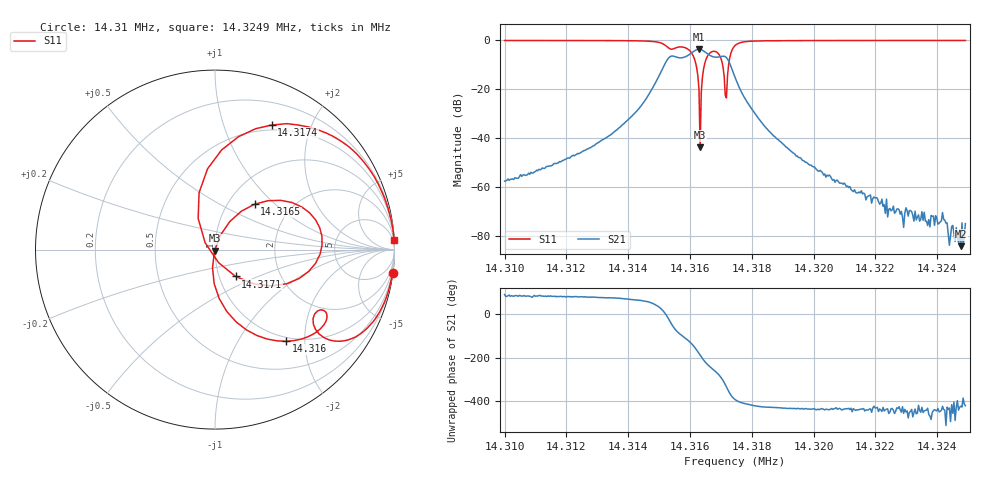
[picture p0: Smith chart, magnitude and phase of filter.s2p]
# HZ S RI R 50
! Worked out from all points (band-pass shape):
!   404 points, 14.31 MHz to 14.3249 MHz, reference 50 ohm
!   highest |S21| = -3.61 dB at 14.3163 MHz (marker M1); lowest = -84.0 dB at 14.3248 MHz (marker M2)
!   |S21| within 3 dB of the highest: 14.31536 MHz to 14.31551 MHz (154.7 Hz wide, 0.00108 % of centre); 14.31586 MHz to 14.31673 MHz (872.4 Hz wide, 0.00609 % of centre)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
!   lowest |S11| = -43.7 dB at 14.3163 MHz (marker M3), VSWR 1.01, Z = 49.8 - j0.618 ohm
!   |S11| at or under -10 dB: 14.31619 MHz to 14.31647 MHz (271.5 Hz wide, 0.0019 % of centre); 14.31705 MHz to 14.31725 MHz (195.1 Hz wide, 0.00136 % of centre)
!   S12 and S22 are empty: the file has one direction only
!   S11 on the Smith chart (normalised r, x): 14.31 MHz: 0, -15; 14.316 MHz: 0.93, -1.63; 14.3165 MHz: 1.32, +0.75; 14.3171 MHz: 1.20, -0.37; 14.3174 MHz: 0.44, +1.46; 14.3249 MHz: 1, +37
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1.431e7  0.9893 -0.1298  1.83e-05 0.00134  0 0  0 0
1.431252e7  0.9759 -0.1955  0.00103 0.0053  0 0  0 0
1.431411e7  0.9341 -0.3155  0.0112 0.0257  0 0  0 0
1.4315e7  0.7666 -0.494  0.1593 0.0997  0 0  0 0
1.431533e7  0.5477 -0.4145  0.4006 -0.2102  0 0  0 0
1.431551e7  0.6067 -0.3392  0.1643 -0.4371  0 0  0 0
1.431596e7  0.3955 -0.511  -0.2783 -0.4211  0 0  0 0
1.431618e7  0.0661 -0.3453  -0.5847 -0.2338  0 0  0 0
1.431629e7  -0.0139 -0.0997  -0.6596 0.0101  0 0  0 0
1.431633e7  -0.0021 -0.00621  -0.6488 0.0994  0 0  0 0
1.43164e7  0.0823 0.1561  -0.5766 0.2541  0 0  0 0
1.431648e7  0.2207 0.2531  -0.4669 0.3561  0 0  0 0
1.431688e7  0.5608 -0.0757  0.0101 0.4545  0 0  0 0
1.43171e7  0.1146 -0.1497  0.3271 0.3435  0 0  0 0
1.431725e7  -0.0887 0.3173  0.3757 0.0337  0 0  0 0
1.431744e7  0.3158 0.694  0.1648 -0.0945  0 0  0 0
1.431747e7  0.3998 0.7017  0.1372 -0.0914  0 0  0 0
1.431807e7  0.8622 0.4444  0.0172 -0.0298  0 0  0 0
1.431995e7  0.979 0.1744  0.000675 -0.00261  0 0  0 0
1.432243e7  0.9939 0.0891  -3.66e-05 -0.000355  0 0  0 0
1.432476e7  0.9973 0.0559  2.89e-05 -5.58e-05  0 0  0 0
1.432491e7  0.9976 0.0543  8.96e-05 -0.000158  0 0  0 0
